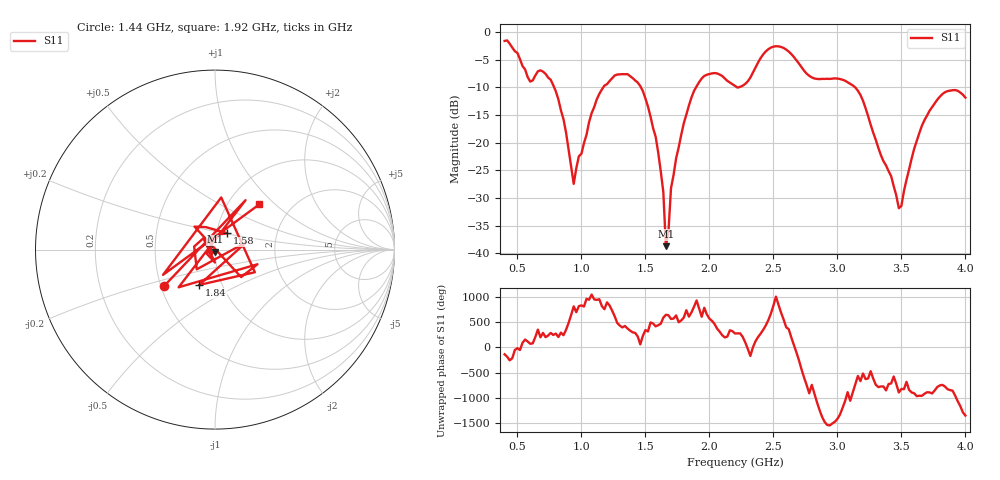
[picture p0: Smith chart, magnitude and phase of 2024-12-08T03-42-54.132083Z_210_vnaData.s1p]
!Created with skrf (http://scikit-rf.org).
# Hz S RI R 50.0
!freq ReS11 ImS11
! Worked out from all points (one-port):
!   181 points, 400 MHz to 4 GHz, reference 50 ohm
!   lowest |S11| = -38.7 dB at 1.66 GHz (marker M1), VSWR 1.02, Z = 50.2 - j1.14 ohm
!   |S11| at or under -10 dB: 786.6 MHz to 1.172 GHz (385.2 MHz wide, 39.3 % of centre); 1.465 GHz to 1.896 GHz (431.8 MHz wide, 25.7 % of centre); 3.137 GHz to end of sweep (the widest 3 of 4)
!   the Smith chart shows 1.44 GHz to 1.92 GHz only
!   S11 on the Smith chart (normalised r, x): 1.44 GHz: 0.52, -0.24; 1.58 GHz: 1.12, +0.21; 1.84 GHz: 0.78, -0.32; 1.92 GHz: 1.39, +0.80
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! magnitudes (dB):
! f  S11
! 400 MHz  -1.6
! 600 MHz  -9.0
! 760 MHz  -8.7
! 860 MHz  -15.8
! 940 MHz  -27.5
! 1.12 GHz  -12.2
! 1.3 GHz  -7.7
! 1.44 GHz  -9.2
! 1.58 GHz  -18.9
! 1.64 GHz  -28.9
! 1.66 GHz  -38.7
! 1.68 GHz  -36.1
! 1.7 GHz  -28.2
! 1.76 GHz  -20.9
! 1.84 GHz  -13.3
! 1.92 GHz  -9.1
! 2.04 GHz  -7.5
! 2.2 GHz  -9.8
! 2.48 GHz  -2.9
! 2.66 GHz  -4.5
! 2.8 GHz  -8.2
! 3.1 GHz  -9.4
! 3.2 GHz  -12.4
! 3.48 GHz  -31.9
! 3.56 GHz  -24.9
! 3.66 GHz  -17.0
! 3.78 GHz  -12.3
! 4 GHz  -11.9
